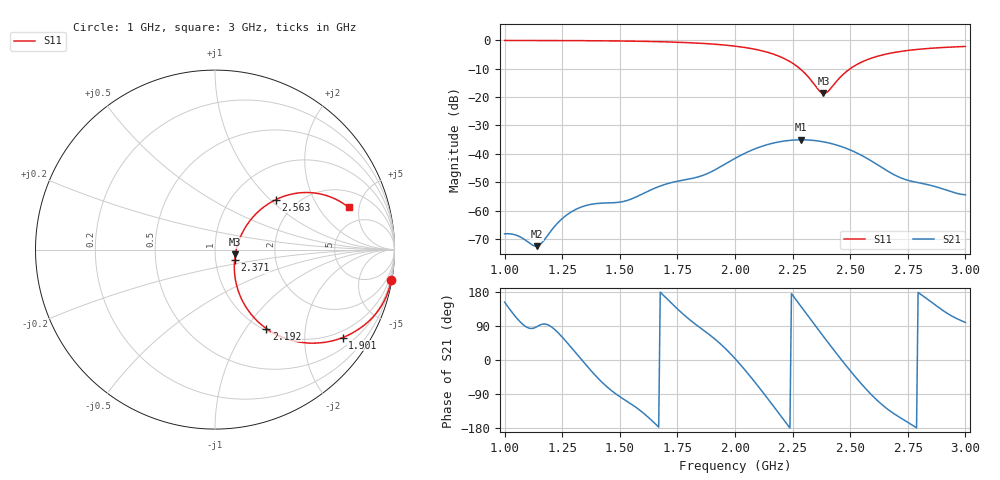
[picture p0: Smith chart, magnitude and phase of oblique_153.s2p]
! TOUCHSTONE file generated by CST MICROWAVE STUDIO
! Date and time: Tue Mar 18 00:02:25 2025
! Project name: oblique.cst
! Parameters = {Tilt=40; Fracture=1; B=10; D=160; F=25; Feed=2.85625; L=100; M=50; R=0.384908; S=1; Theta=270; length=57.125; wave=114.25}
! Header version: 2024
! Port assignment regex: !\s*Touchstone port\s*([0-9]+)\s*=\s*(CST MWS port|CST DES external port|CST DES block port)\s*(.+)\s* \(\"(.*)\"\)(\s*mode\s*([0-9]+))?.*
! Touchstone port assignment:
! Touchstone port 1 = CST MWS port 1 ("")
! Touchstone port 2 = CST MWS port 2 ("")
# GHz S DB R 50
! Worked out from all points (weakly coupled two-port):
!   303 points, 1 GHz to 3 GHz, reference 50 ohm
!   highest |S21| = -35.06 dB at 2.285 GHz (marker M1); lowest = -72.6 dB at 1.139 GHz (marker M2)
!   lowest |S11| = -18.7 dB at 2.384 GHz (marker M3), VSWR 1.26, Z = 62.7 - j3.23 ohm
!   |S11| at or under -10 dB: 2.282 GHz to 2.499 GHz (217.1 MHz wide, 9.08 % of centre)
!   S12 and S22 are empty: the file has one direction only
!   S11 on the Smith chart (normalised r, x): 1 GHz: 0, -12; 1.901 GHz: 0.78, -3.02; 2.192 GHz: 1.03, -1.25; 2.371 GHz: 1.24, -0.15; 2.563 GHz: 1.57, +1.08; 3 GHz: 3.25, +3.92
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1  -0.02 -9.8  -68.21 152.7  -200.00 0.0  -200.00 0.0
1.05298  -0.03 -10.5  -68.75 110.2  -200.00 0.0  -200.00 0.0
1.13907  -0.04 -11.8  -72.55 87.6  -200.00 0.0  -200.00 0.0
1.15894  -0.04 -12.1  -71.62 93.6  -200.00 0.0  -200.00 0.0
1.25166  -0.06 -13.6  -62.73 59.4  -200.00 0.0  -200.00 0.0
1.33775  -0.09 -15.3  -58.61 -2.1  -200.00 0.0  -200.00 0.0
1.52318  -0.23 -19.7  -56.64 -105.8  -200.00 0.0  -200.00 0.0
1.66887  -0.45 -24.3  -51.55 -177.1  -200.00 0.0  -200.00 0.0
1.90066  -1.28 -34.6  -46.17 61.2  -200.00 0.0  -200.00 0.0
2  -2.03 -40.9  -41.60 3.9  -200.00 0.0  -200.00 0.0
2.09934  -3.34 -48.7  -37.84 -68.4  -200.00 0.0  -200.00 0.0
2.19205  -5.61 -57.0  -35.77 -141.9  -200.00 0.0  -200.00 0.0
2.28477  -10.17 -61.7  -35.06 142.5  -200.00 0.0  -200.00 0.0
2.33775  -14.85 -52.5  -35.25 99.3  -200.00 0.0  -200.00 0.0
2.37086  -18.14 -28.3  -35.59 72.5  -200.00 0.0  -200.00 0.0
2.38411  -18.71 -12.7  -35.77 61.9  -200.00 0.0  -200.00 0.0
2.40397  -17.96 10.5  -36.10 46.0  -200.00 0.0  -200.00 0.0
2.48344  -10.99 40.7  -38.08 -15.8  -200.00 0.0  -200.00 0.0
2.56291  -7.16 39.4  -41.14 -72.8  -200.00 0.0  -200.00 0.0
2.66887  -4.60 32.7  -46.38 -132.7  -200.00 0.0  -200.00 0.0
2.74834  -3.56 27.9  -49.27 -163.6  -200.00 0.0  -200.00 0.0
3  -2.14 17.5  -54.43 99.1  -200.00 0.0  -200.00 0.0
